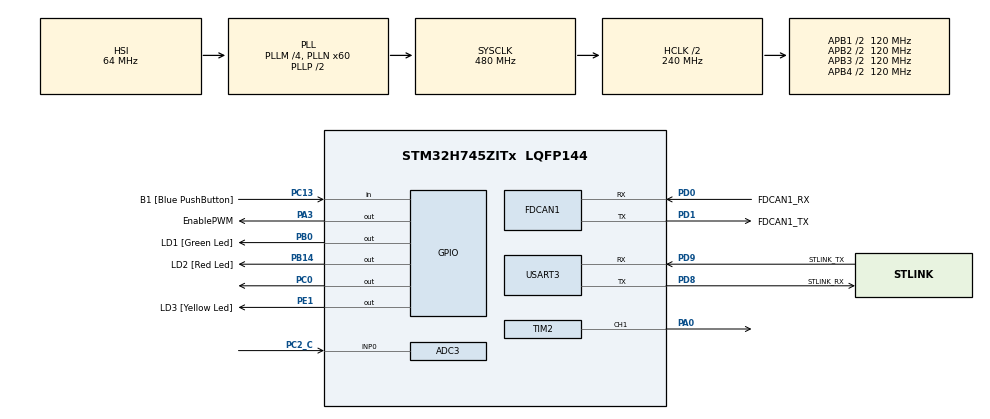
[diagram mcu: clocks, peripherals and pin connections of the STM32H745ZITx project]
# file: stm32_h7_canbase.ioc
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ADC3.NbrOfConversionFlag=1
ADC3.Resolution=ADC_RESOLUTION_14B_OPT
CortexM4.IPs=BDMA,CORTEX_M4\:I,DEBUG,DMA,FATFS_M4\:I,FREERTOS_M4\:I,GPIO,IWDG2\:I,MDMA,NVIC2\:I,OPENAMP_M4\:I,PDM2PCM_M4\:I,PWR,RCC,RESMGR_UTILITY,SYS_M4\:I,USB_DEVICE_M4\:I,USB_HOST_M4\:I,VREFBUF,WWDG2\:I,USART3
CortexM4.Pins=PE1
CortexM7.IPs=BDMA\:I,CORTEX_M7\:I,DEBUG\:I,DMA\:I,FATFS_M7\:I,FREERTOS_M7\:I,GPIO\:I,IWDG1\:I,MDMA\:I,NVIC1\:I,OPENAMP_M7\:I,PDM2PCM_M7\:I,PWR\:I,RCC\:I,RESMGR_UTILITY\:I,SYS\:I,USB_DEVICE_M7\:I,USB_HOST_M7\:I,VREFBUF\:I,WWDG1\:I,USART3\:I,FDCAN1\:I,ADC3\:I,TIM2\:I
CortexM7.Pins=PC13,PC0,PA3,PB0,PB14
FDCAN1.CalculateBaudRateNominal=250000
FDCAN1.CalculateTimeBitNominal=4000
FDCAN1.CalculateTimeQuantumNominal=50.0
FDCAN1.Mode=FDCAN_MODE_NORMAL
FDCAN1.NominalPrescaler=2
FDCAN1.NominalSyncJumpWidth=8
FDCAN1.NominalTimeSeg1=0x3F
FDCAN1.NominalTimeSeg2=16
FDCAN1.ProtocolException=ENABLE
FDCAN1.RxFifo0ElmtsNbr=1
FDCAN1.StdFiltersNbr=1
FDCAN1.TxFifoQueueElmtsNbr=1
Mcu.Family=STM32H7
Mcu.Name=STM32H745ZITx
Mcu.Package=LQFP144
NVIC1.PriorityGroup=NVIC_PRIORITYGROUP_4
NVIC2.PriorityGroup=NVIC_PRIORITYGROUP_4
PA0.PinAttribute=CortexM7
PA0.Signal=S_TIM2_CH1_ETR
PA13\ (JTMS/SWDIO).Mode=Serial_Wire
PA13\ (JTMS/SWDIO).PinAttribute=CortexM7
PA13\ (JTMS/SWDIO).Signal=DEBUG_JTMS-SWDIO
PA14\ (JTCK/SWCLK).Mode=Serial_Wire
PA14\ (JTCK/SWCLK).PinAttribute=CortexM7
PA14\ (JTCK/SWCLK).Signal=DEBUG_JTCK-SWCLK
PA3.GPIO_Label=EnablePWM
PA3.GPIO_PuPd=GPIO_PULLDOWN
PA3.PinAttribute=CortexM7
PA3.Signal=GPIO_Output
PB0.GPIO_Label=LD1 [Green Led]
PB0.PinAttribute=CortexM7
PB0.Signal=GPIO_Output
PB14.GPIO_Label=LD2 [Red Led]
PB14.PinAttribute=CortexM7
PB14.Signal=GPIO_Output
PC0.GPIO_ModeDefaultOutputPP=GPIO_MODE_OUTPUT_PP
PC0.GPIO_PuPd=GPIO_PULLDOWN
PC0.PinAttribute=CortexM7
PC0.PinState=GPIO_PIN_RESET
PC0.Signal=GPIO_Output
PC13.GPIO_Label=B1 [Blue PushButton]
PC13.PinAttribute=CortexM7
PC13.Signal=GPIO_Input
PC14-OSC32_IN\ (OSC32_IN).Mode=LSE-External-Oscillator
PC14-OSC32_IN\ (OSC32_IN).PinAttribute=CortexM7
PC14-OSC32_IN\ (OSC32_IN).Signal=RCC_OSC32_IN
PC15-OSC32_OUT\ (OSC32_OUT).Mode=LSE-External-Oscillator
PC15-OSC32_OUT\ (OSC32_OUT).PinAttribute=CortexM7
PC15-OSC32_OUT\ (OSC32_OUT).Signal=RCC_OSC32_OUT
PC2_C.GPIO_Mode=GPIO_MODE_ANALOG
PC2_C.GPIO_PuPd=GPIO_NOPULL
PC2_C.Mode=IN0-Single-Ended
PC2_C.PinAttribute=CortexM7
PC2_C.Signal=ADC3_INP0
PD0.GPIO_Label=FDCAN1_RX
PD0.GPIO_Speed=GPIO_SPEED_FREQ_VERY_HIGH
PD0.Mode=FDCAN_Activate
PD0.PinAttribute=CortexM7
PD0.Signal=FDCAN1_RX
PD1.GPIO_Label=FDCAN1_TX
PD1.GPIO_PuPd=GPIO_PULLUP
PD1.GPIO_Speed=GPIO_SPEED_FREQ_VERY_HIGH
PD1.Mode=FDCAN_Activate
PD1.PinAttribute=CortexM7
PD1.Signal=FDCAN1_TX
PD8.GPIO_Label=STLINK_RX
PD8.Mode=Asynchronous
PD8.PinAttribute=CortexM7
PD8.Signal=USART3_TX
PD9.GPIO_Label=STLINK_TX
PD9.Mode=Asynchronous
PD9.PinAttribute=CortexM7
PD9.Signal=USART3_RX
PE1.GPIO_Label=LD3 [Yellow Led]
PE1.PinAttribute=CortexM4
PE1.Signal=GPIO_Output
PH0-OSC_IN\ (PH0).Mode=HSE-External-Oscillator
PH0-OSC_IN\ (PH0).PinAttribute=CortexM7
PH0-OSC_IN\ (PH0).Signal=RCC_OSC_IN
PH1-OSC_OUT\ (PH1).Mode=HSE-External-Oscillator
PH1-OSC_OUT\ (PH1).PinAttribute=CortexM7
PH1-OSC_OUT\ (PH1).Signal=RCC_OSC_OUT
ProjectManager.HeapSize=M4-0x200,M7-0x200
ProjectManager.StackSize=M4-0x400,M7-0x400
ProjectManager.TargetToolchain=STM32CubeIDE
RCC.ADCFreq_Value=80000000
RCC.APB1Freq_Value=120000000
RCC.APB2Freq_Value=120000000
RCC.APB3Freq_Value=120000000
RCC.APB4Freq_Value=120000000
RCC.CortexFreq_Value=480000000
RCC.D1PPRE=RCC_APB3_DIV2
RCC.D2PPRE1=RCC_APB1_DIV2
RCC.D2PPRE2=RCC_APB2_DIV2
RCC.D3PPRE=RCC_APB4_DIV2
RCC.DIVM1=4
RCC.DIVM2=4
RCC.DIVN1=60
RCC.DIVN2=10
RCC.DIVQ1=24
RCC.HCLKFreq_Value=240000000
RCC.HPRE=RCC_HCLK_DIV2
RCC.HSE_VALUE=8000000
RCC.SYSCLKFreq_VALUE=480000000
RCC.SYSCLKSource=RCC_SYSCLKSOURCE_PLLCLK
RCC.USBFreq_Value=40000000
SH.S_TIM2_CH1_ETR.0=TIM2_CH1,PWM Generation1 CH1
SYS.userName=SYS_M7
TIM2.AutoReloadPreload=TIM_AUTORELOAD_PRELOAD_ENABLE
TIM2.Channel-PWM\ Generation1\ CH1=TIM_CHANNEL_1
TIM2.Period=65535
USART3.VirtualMode-Asynchronous=VM_ASYNC
VP_SYS_M4_VS_Systick.Mode=SysTick
VP_TIM2_VS_ClockSourceINT.Mode=Internal
board=custom

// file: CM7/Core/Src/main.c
/* USER CODE BEGIN Header */
/**
  ******************************************************************************
  * @file           : main.c
  * @brief          : Main program body
  ******************************************************************************
  * @attention
  *
  *   This code was developed in collaboration with the following people:
  *   - Jorge Askur Vázquez Fernández
  *   - Andrés Sarellano Acevedo
  *   - Izel María Ávila Rodríguez
  *
  * The code inside this file is meant to be run at an STM32H745 NUCLEO Board
  *
  * Copyright (c) 2022 STMicroelectronics.
  * All rights reserved.
  *
  * This software is licensed under terms that can be found in the LICENSE file
  * in the root directory of this software component.
  * If no LICENSE file comes with this software, it is provided AS-IS.
  *
  ******************************************************************************
  */
/* USER CODE END Header */
#include "main.h"
/* USER CODE BEGIN Includes */
#include "myprintf.h"
/* USER CODE END Includes */

/* USER CODE BEGIN PD */

#ifndef HSEM_ID_0
#define HSEM_ID_0 (0U) /* HW semaphore 0*/
#endif
/* USER CODE END PD */

//  Analog to digital converter handler
ADC_HandleTypeDef hadc3;
//  CAN bus handler
FDCAN_HandleTypeDef hfdcan1;
//  PWM timer handler
TIM_HandleTypeDef htim2;
//  STM32H745 UART3 handler
UART_HandleTypeDef huart3;
//  CAN Filter Configuration
FDCAN_FilterTypeDef sFilterConfig;
//  CAN_Tx Header
FDCAN_TxHeaderTypeDef TxHeader;
//  CAN_Rx Header
FDCAN_RxHeaderTypeDef RxHeader;
UART_HandleTypeDef huart3;
//  Global Variable for displaying Tank's pressure
uint8_t pressureVal;

void SystemClock_Config(void);
static void MX_GPIO_Init(void);
static void MX_USART3_UART_Init(void);
static void MX_FDCAN1_Init(void);
static void MX_ADC3_Init(void);
static void MX_TIM2_Init(void);

int main(void)
{
  /* USER CODE BEGIN Boot_Mode_Sequence_0 */
    int32_t timeout;
  /* USER CODE END Boot_Mode_Sequence_0 */

  /* USER CODE BEGIN Boot_Mode_Sequence_1 */
    /* Wait until CPU2 boots and enters in stop mode or timeout*/
    timeout = 0xFFFF;
    while((__HAL_RCC_GET_FLAG(RCC_FLAG_D2CKRDY) != RESET) && (timeout-- > 0));
    if ( timeout < 0 )
    {
    Error_Handler();
    }
  /* USER CODE END Boot_Mode_Sequence_1 */
    /* MCU Configuration--------------------------------------------------------*/

    /* Reset of all peripherals, Initializes the Flash interface and the Systick. */
    HAL_Init();

    /* Configure the system clock */
    SystemClock_Config();
  /* USER CODE BEGIN Boot_Mode_Sequence_2 */
  /* When system initialization is finished, Cortex-M7 will release Cortex-M4 by means of
  HSEM notification */
  /*HW semaphore Clock enable*/
  __HAL_RCC_HSEM_CLK_ENABLE();
  /*Take HSEM */
  HAL_HSEM_FastTake(HSEM_ID_0);
  /*Release HSEM in order to notify the CPU2(CM4)*/
  HAL_HSEM_Release(HSEM_ID_0,0);
  /* wait until CPU2 wakes up from stop mode */
  timeout = 0xFFFF;
  while((__HAL_RCC_GET_FLAG(RCC_FLAG_D2CKRDY) == RESET) && (timeout-- > 0));
  if ( timeout < 0 )
  {
    Error_Handler();
  }
  /* USER CODE END Boot_Mode_Sequence_2 */

    /* Initialize all configured peripherals */
    MX_GPIO_Init();
    MX_USART3_UART_Init();
    MX_FDCAN1_Init();
    MX_ADC3_Init();
    MX_TIM2_Init();

    /* Infinite loop */
    /* USER CODE BEGIN WHILE */
    /* USER CODE BEGIN WHILE */ /*AAO+*/
    printf("Hello World\n\r");

    //	Message data
    uint8_t TxData[8] = {0x1D, 0xFF, 0xFF, 0xFF, 0xFF, 0xFF, 0xFF, 0xFF};
    uint8_t TxData2[8] = {0x0A, 0xFF, 0xFF, 0xFF, 0xFF, 0xFF, 0xFF, 0xFF};
    //  Setting default pressure setpoint
    uint8_t Setpoint = 0;
    //  Reading header
    uint8_t RxData[8];
    uint8_t pressureVal;
    int32_t DC = 65535;

    double e = 0.0, e_1=0.0, u=0.0, u_1=0.0;
    double kp, ti, q0, q1;

    void PID_Initialize( void ){
        double T = 1.59524;            //sample rate
        //Complete here with the identified
        //parameters of the plant
      double k = 1;
      double tao = 14.17;
      double theta = 18.45;

      //Calculate the coefficients for
      //the discrete PID controller
      kp = (0.9 * tao) / (k * theta);
      ti = 3.333333 * theta;
      q0 = kp + ((kp * T)/(2.0 * ti));
      q1 = ((kp * T)/(2.0 * ti)) - kp;
    }

    double PID_Discrete( double yM , uint8_t setpoint){
          double R = setpoint;            //set-point
          e = R - yM;            //calculate the error
          u = u_1 + q0*e + q1*e_1;    //discrete PID controller
          //Saturate the controller with upper and lower limits
          if(u >= 100) u = 20;
          if (yM == 0) u = 20; //ressure value
          if(u <= 0) u = 0;          //minimum pressure value
          e_1 = e;
          u_1 = u;
          return u;
        }

    /**
     * 	Esta función activa el solenoide y el compresor dependiendo de la cantidad
     * 	de presión que se desea tener en el tanque.
     *	@param uint8_t setpoint  Es la Presión que se desea alcanzar.
    *
    * */

    void adjustPressure( uint8_t setpoint)
    {

      HAL_TIM_PWM_Start(&htim2, TIM_CHANNEL_1);
      HAL_GPIO_WritePin(GPIOA, GPIO_PIN_3, SET);
      printf("DC: %d\n\r", DC);

      double u = PID_Discrete(pressureVal, setpoint);
      printf("PID: %2.2lf\n\r", u);

      if (pressureVal > setpoint - 5 && pressureVal < setpoint)
      {
        DC = (100-u)/100 * 65535;

        printf("Compresor  Encendido \n\r");
        printf("DC con PID: %d\n\r", DC);
        TIM2->CCR1 = DC;

      } else if (pressureVal < setpoint){
        DC = 65535;
        TIM2->CCR1 = DC;
      } else if(pressureVal > setpoint) {
        HAL_GPIO_WritePin(GPIOC, GPIO_PIN_0, SET);
        HAL_Delay(100);
        HAL_GPIO_WritePin(GPIOC, GPIO_PIN_0, RESET);
        printf("Se apago el solenoide\n\r");

        TIM2->CCR1 = DC;
        printf("Se activo el solenoide\n\r");
      } else {

        DC = 51000;
        TIM2->CCR1 = DC;

      }

    }

    /**
     * 	Esta función le asigna el valor de la presión deseada a la variable Setpoint para recibirse
     * 	en la función adjustPressure para activar el sistema de control.
     *
     *	@param uint8_t RData[8]  Es un arreglo de 8 bytes, es el mensaje SPN recibido del CAN cuyo primer
    *		elemento contiene el valorde los datos.
    *	@return uint8_t pressureVal		Es el valor de presión que se desea tener en el tanque,
    *		permanecerá la presión previa si no se recibe nada del CAN.
    *
    * */
    uint8_t setSetpoint(uint8_t RData[8])
    {
      uint8_t setpoint;
      RxHeader.Identifier = 0x10FEF9A3;
      //	Identifier 0x10FEF9A3 -> Pressure Setpoint
      //	Identifier 0x18FEEEA4 -> Meassured Pressure Front Right Tire
      if(RxHeader.Identifier == 0x10FEF9A3)
      {

        //	Cambiamos el Identifier para mandar el mensaje bajo dicha directiva
        TxHeader.Identifier = 0x18FEEEA4;
        //	El primer valor de la transmisión es el valor de presión deseado, por lo que será el setpoint
        setpoint = RData[0];
        printf("Cambio de Setpoint: %d  \n\r", setpoint);
        return setpoint;
      }
      return setpoint;

    }

    /**
     * 	Esta función actualiza el valor del arreglo de transmisión para transmitir por el CAN
     *	@param uint8_t TxData[8]  Es un arreglo de 8 bytes, es el mensaje SPN recibido del CAN cuyo primer
    *		elemento contiene el valor de los datos.
    *
    * */
    uint8_t transmitPressure(uint8_t TxData[8], uint8_t pressureVal)
    {
      //Definir parametros iniciales
      //(HAY QUE CALIBRARLO)
      uint16_t pressureZero = 2100;
      uint16_t pressureMax = 16380;

      //	Definimos el Identifier para transmitir la presión actual
      TxHeader.Identifier = 0x18FEEEA4;

      //	Inicializamos el ADC
      HAL_ADC_Start(&hadc3);
      //	Preguntamos si se esta recibiendo algo
      HAL_ADC_PollForConversion(&hadc3, HAL_MAX_DELAY);
      //	Guardamos el valor obtenido
      uint16_t raw = HAL_ADC_GetValue(&hadc3);

      //	Se descartan los dos LSB para eliminar algo de ruido
      raw = raw >> 2;
      raw = raw << 2;

      //	Imprimir valor de resolucion obtenido
      printf("Raw = %d \n\r", raw);
      //	Convertir a PSI
      pressureVal = ((raw - pressureZero)*100)/ (pressureMax - pressureZero);
      //	Imprimir el valor de pressureVal final
      printf("Pressure = %d PSI \n\r", pressureVal);
      return pressureVal;
    }

    RxHeader.Identifier = 0x10FEF9A3;
    PID_Initialize();
    HAL_GPIO_WritePin(GPIOC, GPIO_PIN_0, RESET);
    while (1)
    {
        /*	Transmisión de datos	*/
        if(HAL_FDCAN_AddMessageToTxFifoQ(&hfdcan1, &TxHeader, TxData) != HAL_OK)
        {
          printf("aux sent\n\r");
          Error_Handler();
        }
        //	Significant delay to show the functionality on a slow pace.
        //HAL_Delay(500);

        printf("\nMessage sent\r");

        /*	Recepción de datos	*/
      while (HAL_FDCAN_GetRxMessage(&hfdcan1, FDCAN_RX_FIFO0, &RxHeader, RxData) != HAL_OK);

      //HAL_Delay(10);
      printf("CAN ID: 0x%.8lX \n\r", RxHeader.Identifier);

      printf("CAN Message: \n\r");
      int dataSize = RxHeader.DataLength >>  16;
      for (int i = 0; i < dataSize; i ++)
      {
          printf(" %x", RxData[i]);
        }
      printf("\n\r");

      //	Si se recibe un valor del Dashboard para actualizar la presión, el Setpoint se actualiza.
      Setpoint =  setSetpoint(RxData);
      //	Ajustamos la presión del tanque con el setpoint presentado
      adjustPressure(Setpoint);
      //	Actualización de los datos para mandar al NodeMCU
      pressureVal = transmitPressure(RxData, pressureVal);
      //	Actualizamos el SPN para mandar el dato deseado
      TxData[0] = pressureVal;

      HAL_GPIO_TogglePin(LD1_GPIO_Port,LD1_Pin);
      //HAL_Delay(100); //AAO

    }
      /* USER CODE END WHILE */

}

void SystemClock_Config(void)
{
  RCC_OscInitTypeDef RCC_OscInitStruct = {0};
  RCC_ClkInitTypeDef RCC_ClkInitStruct = {0};

  /** Supply configuration update enable
  */
  HAL_PWREx_ConfigSupply(PWR_DIRECT_SMPS_SUPPLY);

  /** Configure the main internal regulator output voltage
  */
  __HAL_PWR_VOLTAGESCALING_CONFIG(PWR_REGULATOR_VOLTAGE_SCALE0);

  while(!__HAL_PWR_GET_FLAG(PWR_FLAG_VOSRDY)) {}

  /** Macro to configure the PLL clock source
  */
  __HAL_RCC_PLL_PLLSOURCE_CONFIG(RCC_PLLSOURCE_HSI);

  /** Initializes the RCC Oscillators according to the specified parameters
  * in the RCC_OscInitTypeDef structure.
  */
  RCC_OscInitStruct.OscillatorType = RCC_OSCILLATORTYPE_HSI;
  RCC_OscInitStruct.HSIState = RCC_HSI_DIV1;
  RCC_OscInitStruct.HSICalibrationValue = RCC_HSICALIBRATION_DEFAULT;
  RCC_OscInitStruct.PLL.PLLState = RCC_PLL_ON;
  RCC_OscInitStruct.PLL.PLLSource = RCC_PLLSOURCE_HSI;
  RCC_OscInitStruct.PLL.PLLM = 4;
  RCC_OscInitStruct.PLL.PLLN = 60;
  RCC_OscInitStruct.PLL.PLLP = 2;
  RCC_OscInitStruct.PLL.PLLQ = 24;
  RCC_OscInitStruct.PLL.PLLR = 2;
  RCC_OscInitStruct.PLL.PLLRGE = RCC_PLL1VCIRANGE_3;
  RCC_OscInitStruct.PLL.PLLVCOSEL = RCC_PLL1VCOWIDE;
  RCC_OscInitStruct.PLL.PLLFRACN = 0;
  if (HAL_RCC_OscConfig(&RCC_OscInitStruct) != HAL_OK)
  {
    Error_Handler();
  }

  /** Initializes the CPU, AHB and APB buses clocks
  */
  RCC_ClkInitStruct.ClockType = RCC_CLOCKTYPE_HCLK|RCC_CLOCKTYPE_SYSCLK
                              |RCC_CLOCKTYPE_PCLK1|RCC_CLOCKTYPE_PCLK2
                              |RCC_CLOCKTYPE_D3PCLK1|RCC_CLOCKTYPE_D1PCLK1;
  RCC_ClkInitStruct.SYSCLKSource = RCC_SYSCLKSOURCE_PLLCLK;
  RCC_ClkInitStruct.SYSCLKDivider = RCC_SYSCLK_DIV1;
  RCC_ClkInitStruct.AHBCLKDivider = RCC_HCLK_DIV2;
  RCC_ClkInitStruct.APB3CLKDivider = RCC_APB3_DIV2;
  RCC_ClkInitStruct.APB1CLKDivider = RCC_APB1_DIV2;
  RCC_ClkInitStruct.APB2CLKDivider = RCC_APB2_DIV2;
  RCC_ClkInitStruct.APB4CLKDivider = RCC_APB4_DIV2;

  if (HAL_RCC_ClockConfig(&RCC_ClkInitStruct, FLASH_LATENCY_4) != HAL_OK)
  {
    Error_Handler();
  }
}

static void MX_ADC3_Init(void)
{

  ADC_ChannelConfTypeDef sConfig = {0};

  /** Common config
  */
  hadc3.Instance = ADC3;
  hadc3.Init.Resolution = ADC_RESOLUTION_14B_OPT;
  hadc3.Init.ScanConvMode = ADC_SCAN_DISABLE;
  hadc3.Init.EOCSelection = ADC_EOC_SINGLE_CONV;
  hadc3.Init.LowPowerAutoWait = DISABLE;
  hadc3.Init.ContinuousConvMode = DISABLE;
  hadc3.Init.NbrOfConversion = 1;
  hadc3.Init.DiscontinuousConvMode = DISABLE;
  hadc3.Init.ExternalTrigConv = ADC_SOFTWARE_START;
  hadc3.Init.ExternalTrigConvEdge = ADC_EXTERNALTRIGCONVEDGE_NONE;
  hadc3.Init.ConversionDataManagement = ADC_CONVERSIONDATA_DR;
  hadc3.Init.Overrun = ADC_OVR_DATA_PRESERVED;
  hadc3.Init.LeftBitShift = ADC_LEFTBITSHIFT_NONE;
  hadc3.Init.OversamplingMode = DISABLE;
  if (HAL_ADC_Init(&hadc3) != HAL_OK)
  {
    Error_Handler();
  }

  /** Configure Regular Channel
  */
  sConfig.Channel = ADC_CHANNEL_0;
  sConfig.Rank = ADC_REGULAR_RANK_1;
  sConfig.SamplingTime = ADC_SAMPLETIME_1CYCLE_5;
  sConfig.SingleDiff = ADC_SINGLE_ENDED;
  sConfig.OffsetNumber = ADC_OFFSET_NONE;
  sConfig.Offset = 0;
  if (HAL_ADC_ConfigChannel(&hadc3, &sConfig) != HAL_OK)
  {
    Error_Handler();
  }

}

static void MX_FDCAN1_Init(void)
{

  hfdcan1.Instance = FDCAN1;
  hfdcan1.Init.FrameFormat = FDCAN_FRAME_CLASSIC;
  hfdcan1.Init.Mode = FDCAN_MODE_NORMAL;
  hfdcan1.Init.AutoRetransmission = DISABLE;
  hfdcan1.Init.TransmitPause = DISABLE;
  hfdcan1.Init.ProtocolException = ENABLE;
  hfdcan1.Init.NominalPrescaler = 2;
  hfdcan1.Init.NominalSyncJumpWidth = 8;
  hfdcan1.Init.NominalTimeSeg1 = 0x3F;
  hfdcan1.Init.NominalTimeSeg2 = 16;
  hfdcan1.Init.DataPrescaler = 1;
  hfdcan1.Init.DataSyncJumpWidth = 1;
  hfdcan1.Init.DataTimeSeg1 = 1;
  hfdcan1.Init.DataTimeSeg2 = 1;
  hfdcan1.Init.MessageRAMOffset = 0;
  hfdcan1.Init.StdFiltersNbr = 1;
  hfdcan1.Init.ExtFiltersNbr = 0;
  hfdcan1.Init.RxFifo0ElmtsNbr = 1;
  hfdcan1.Init.RxFifo0ElmtSize = FDCAN_DATA_BYTES_8;
  hfdcan1.Init.RxFifo1ElmtsNbr = 0;
  hfdcan1.Init.RxFifo1ElmtSize = FDCAN_DATA_BYTES_8;
  hfdcan1.Init.RxBuffersNbr = 0;
  hfdcan1.Init.RxBufferSize = FDCAN_DATA_BYTES_8;
  hfdcan1.Init.TxEventsNbr = 0;
  hfdcan1.Init.TxBuffersNbr = 0;
  hfdcan1.Init.TxFifoQueueElmtsNbr = 1;
  hfdcan1.Init.TxFifoQueueMode = FDCAN_TX_FIFO_OPERATION;
  hfdcan1.Init.TxElmtSize = FDCAN_DATA_BYTES_8;
  if (HAL_FDCAN_Init(&hfdcan1) != HAL_OK)
  {
    Error_Handler();
  }
  /* USER CODE BEGIN FDCAN1_Init 2 */

  /*AAO+*/
    /* Configure Rx filter */
     sFilterConfig.IdType = FDCAN_EXTENDED_ID;
     sFilterConfig.FilterIndex = 0;
     sFilterConfig.FilterType = FDCAN_FILTER_MASK;
     sFilterConfig.FilterConfig = FDCAN_FILTER_TO_RXFIFO0;
     sFilterConfig.FilterID1 = 0x300;//	Ponemos 3f8
     sFilterConfig.FilterID2 = 0x7FF;

     /* Configure global filter to reject all non-matching frames */
     //HAL_FDCAN_ConfigGlobalFilter(&hfdcan1, FDCAN_REJECT, FDCAN_REJECT, FDCAN_REJECT_REMOTE, FDCAN_REJECT_REMOTE);

     if (HAL_FDCAN_ConfigFilter(&hfdcan1, &sFilterConfig) != HAL_OK)
       {
          /* Filter configuration Error */
          Error_Handler();
       }
      /* Start the FDCAN module */
     if (HAL_FDCAN_Start(&hfdcan1) != HAL_OK) {}
          /* Start Error */
     if (HAL_FDCAN_ActivateNotification(&hfdcan1, FDCAN_IT_RX_FIFO0_NEW_MESSAGE, 0) != HAL_OK){}
          /* Notification Error */

      /* Configure Tx buffer message */
     TxHeader.Identifier = 0x18FEEEA4; // 111
     TxHeader.IdType = FDCAN_EXTENDED_ID;
     TxHeader.TxFrameType = FDCAN_DATA_FRAME;
     TxHeader.DataLength = FDCAN_DLC_BYTES_8; //CAMB
     TxHeader.ErrorStateIndicator = FDCAN_ESI_ACTIVE;
     TxHeader.BitRateSwitch = FDCAN_BRS_ON;
     TxHeader.FDFormat = FDCAN_FD_CAN;
     TxHeader.TxEventFifoControl = FDCAN_NO_TX_EVENTS;
     TxHeader.MessageMarker = 0x00;
    /*AAO-*/

     RxHeader.IdType = FDCAN_EXTENDED_ID;
     RxHeader.RxFrameType = FDCAN_DATA_FRAME;
     RxHeader.DataLength = FDCAN_DLC_BYTES_8;

  /* USER CODE END FDCAN1_Init 2 */

}

static void MX_TIM2_Init(void)
{

  TIM_ClockConfigTypeDef sClockSourceConfig = {0};
  TIM_MasterConfigTypeDef sMasterConfig = {0};
  TIM_OC_InitTypeDef sConfigOC = {0};

  htim2.Instance = TIM2;
  htim2.Init.Prescaler = 0;
  htim2.Init.CounterMode = TIM_COUNTERMODE_UP;
  htim2.Init.Period = 65535;
  htim2.Init.ClockDivision = TIM_CLOCKDIVISION_DIV1;
  htim2.Init.AutoReloadPreload = TIM_AUTORELOAD_PRELOAD_ENABLE;
  if (HAL_TIM_Base_Init(&htim2) != HAL_OK)
  {
    Error_Handler();
  }
  sClockSourceConfig.ClockSource = TIM_CLOCKSOURCE_INTERNAL;
  if (HAL_TIM_ConfigClockSource(&htim2, &sClockSourceConfig) != HAL_OK)
  {
    Error_Handler();
  }
  if (HAL_TIM_PWM_Init(&htim2) != HAL_OK)
  {
    Error_Handler();
  }
  sMasterConfig.MasterOutputTrigger = TIM_TRGO_RESET;
  sMasterConfig.MasterSlaveMode = TIM_MASTERSLAVEMODE_DISABLE;
  if (HAL_TIMEx_MasterConfigSynchronization(&htim2, &sMasterConfig) != HAL_OK)
  {
    Error_Handler();
  }
  sConfigOC.OCMode = TIM_OCMODE_PWM1;
  sConfigOC.Pulse = 0;
  sConfigOC.OCPolarity = TIM_OCPOLARITY_HIGH;
  sConfigOC.OCFastMode = TIM_OCFAST_DISABLE;
  if (HAL_TIM_PWM_ConfigChannel(&htim2, &sConfigOC, TIM_CHANNEL_1) != HAL_OK)
  {
    Error_Handler();
  }
  HAL_TIM_MspPostInit(&htim2);

}

static void MX_USART3_UART_Init(void)
{

  huart3.Instance = USART3;
  huart3.Init.BaudRate = 115200;
  huart3.Init.WordLength = UART_WORDLENGTH_8B;
  huart3.Init.StopBits = UART_STOPBITS_1;
  huart3.Init.Parity = UART_PARITY_NONE;
  huart3.Init.Mode = UART_MODE_TX_RX;
  huart3.Init.HwFlowCtl = UART_HWCONTROL_NONE;
  huart3.Init.OverSampling = UART_OVERSAMPLING_16;
  huart3.Init.OneBitSampling = UART_ONE_BIT_SAMPLE_DISABLE;
  huart3.Init.ClockPrescaler = UART_PRESCALER_DIV1;
  huart3.AdvancedInit.AdvFeatureInit = UART_ADVFEATURE_NO_INIT;
  if (HAL_UART_Init(&huart3) != HAL_OK)
  {
    Error_Handler();
  }
  if (HAL_UARTEx_SetTxFifoThreshold(&huart3, UART_TXFIFO_THRESHOLD_1_8) != HAL_OK)
  {
    Error_Handler();
  }
  if (HAL_UARTEx_SetRxFifoThreshold(&huart3, UART_RXFIFO_THRESHOLD_1_8) != HAL_OK)
  {
    Error_Handler();
  }
  if (HAL_UARTEx_DisableFifoMode(&huart3) != HAL_OK)
  {
    Error_Handler();
  }

}

static void MX_GPIO_Init(void)
{
  GPIO_InitTypeDef GPIO_InitStruct = {0};

  /* GPIO Ports Clock Enable */
  __HAL_RCC_GPIOC_CLK_ENABLE();
  __HAL_RCC_GPIOH_CLK_ENABLE();
  __HAL_RCC_GPIOA_CLK_ENABLE();
  __HAL_RCC_GPIOB_CLK_ENABLE();
  __HAL_RCC_GPIOD_CLK_ENABLE();

  /*Configure GPIO pin Output Level */
  HAL_GPIO_WritePin(GPIOC, GPIO_PIN_0, GPIO_PIN_RESET);

  /*Configure GPIO pin Output Level */
  HAL_GPIO_WritePin(EnablePWM_GPIO_Port, EnablePWM_Pin, GPIO_PIN_RESET);

  /*Configure GPIO pin Output Level */
  HAL_GPIO_WritePin(GPIOB, LD1_Pin|LD2_Pin, GPIO_PIN_RESET);

  /*Configure GPIO pin : B1_Pin */
  GPIO_InitStruct.Pin = B1_Pin;
  GPIO_InitStruct.Mode = GPIO_MODE_INPUT;
  GPIO_InitStruct.Pull = GPIO_NOPULL;
  HAL_GPIO_Init(B1_GPIO_Port, &GPIO_InitStruct);

  /*Configure GPIO pin : PC0 */
  GPIO_InitStruct.Pin = GPIO_PIN_0;
  GPIO_InitStruct.Mode = GPIO_MODE_OUTPUT_PP;
  GPIO_InitStruct.Pull = GPIO_PULLDOWN;
  GPIO_InitStruct.Speed = GPIO_SPEED_FREQ_LOW;
  HAL_GPIO_Init(GPIOC, &GPIO_InitStruct);

  /*Configure GPIO pin : EnablePWM_Pin */
  GPIO_InitStruct.Pin = EnablePWM_Pin;
  GPIO_InitStruct.Mode = GPIO_MODE_OUTPUT_PP;
  GPIO_InitStruct.Pull = GPIO_PULLDOWN;
  GPIO_InitStruct.Speed = GPIO_SPEED_FREQ_LOW;
  HAL_GPIO_Init(EnablePWM_GPIO_Port, &GPIO_InitStruct);

  /*Configure GPIO pins : LD1_Pin LD2_Pin */
  GPIO_InitStruct.Pin = LD1_Pin|LD2_Pin;
  GPIO_InitStruct.Mode = GPIO_MODE_OUTPUT_PP;
  GPIO_InitStruct.Pull = GPIO_NOPULL;
  GPIO_InitStruct.Speed = GPIO_SPEED_FREQ_LOW;
  HAL_GPIO_Init(GPIOB, &GPIO_InitStruct);

}

void Error_Handler(void)
{
  __disable_irq();
  while (1)
  {
  }
}
